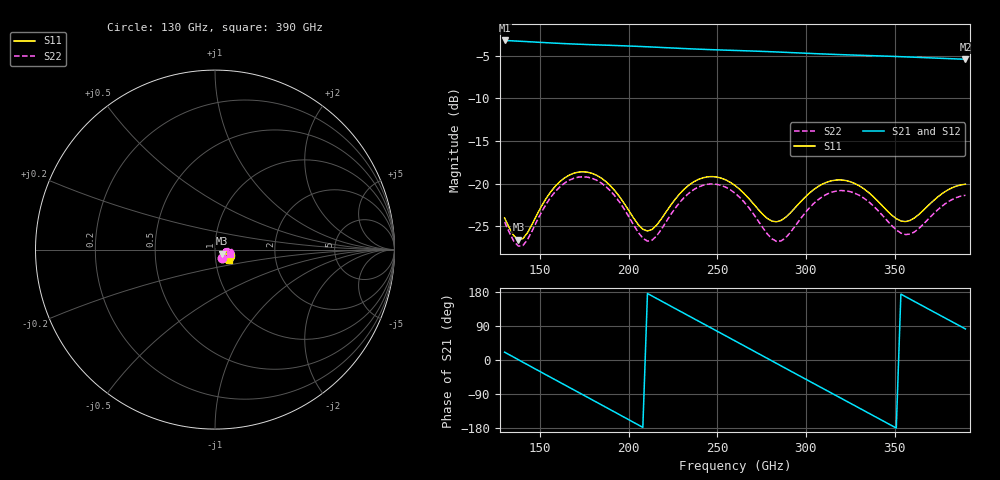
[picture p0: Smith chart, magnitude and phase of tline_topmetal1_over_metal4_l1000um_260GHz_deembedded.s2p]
! Created with skrf 2.0.1 (http://scikit-rf.org).
# GHz S DB R 50.0
!freq dBS11 angS11 dBS21 angS21 dBS12 angS12 dBS22 angS22
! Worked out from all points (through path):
!   101 points, 130 GHz to 390 GHz, reference 50 ohm
!   highest |S21| = -3.20 dB at 130 GHz (marker M1); lowest = -5.4 dB at 390 GHz (marker M2)
!   group delay of S21, straight-line fit = 7.04 ps
!   lowest |S11| = -26.6 dB at 137.8 GHz (marker M3), VSWR 1.10, Z = 54.2 - j2.49 ohm
!   |S11| at or under -10 dB: start of sweep to end of sweep
!   |S22| runs from -27.4 to -19.2 dB; largest |S21 - S12| = 8e-14
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130  -24.04 -51.5  -3.20 20.7  -3.20 20.7  -24.52 -47.9
137.8  -26.61 -29.4  -3.28 0.7  -3.28 0.7  -27.36 -25.4
148.2  -23.67 -1.4  -3.40 -25.9  -3.40 -25.9  -24.42 5.2
158.6  -20.31 -4.9  -3.52 -52.3  -3.52 -52.3  -20.95 2.4
174.2  -18.62 -25.7  -3.66 -91.8  -3.66 -91.8  -19.21 -18.1
184.6  -19.36 -40.1  -3.74 -118.2  -3.74 -118.2  -19.94 -32.5
197.6  -22.37 -49.6  -3.83 -151.3  -3.83 -151.3  -23.04 -42.7
210.6  -25.58 -28.7  -3.95 175.5  -3.95 175.5  -26.76 -21.4
218.4  -24.16 -11.4  -4.02 155.7  -4.02 155.7  -25.40 -1.3
239.2  -19.53 -19.4  -4.22 103.1  -4.22 103.1  -20.43 -8.0
249.6  -19.23 -32.5  -4.30 76.8  -4.30 76.8  -20.09 -21.5
260  -20.23 -43.9  -4.37 50.5  -4.37 50.5  -21.13 -33.9
280.8  -24.41 -36.6  -4.53 -2.3  -4.53 -2.3  -26.49 -27.8
291.2  -23.45 -19.6  -4.62 -28.6  -4.62 -28.6  -25.76 -3.4
304.2  -20.74 -19.7  -4.74 -61.5  -4.74 -61.5  -22.39 -0.4
314.6  -19.67 -29.5  -4.83 -87.7  -4.83 -87.7  -21.01 -10.2
325  -19.78 -41.0  -4.90 -113.9  -4.90 -113.9  -20.95 -22.1
338  -21.53 -51.0  -4.99 -146.7  -4.99 -146.7  -22.61 -33.3
348.4  -23.71 -47.7  -5.06 -173.1  -5.06 -173.1  -24.93 -31.3
358.8  -24.33 -31.7  -5.15 160.6  -5.15 160.6  -25.93 -14.6
371.8  -22.04 -22.5  -5.26 127.8  -5.26 127.8  -23.60 -2.7
390  -20.08 -35.4  -5.40 82.0  -5.40 82.0  -21.38 -15.4
